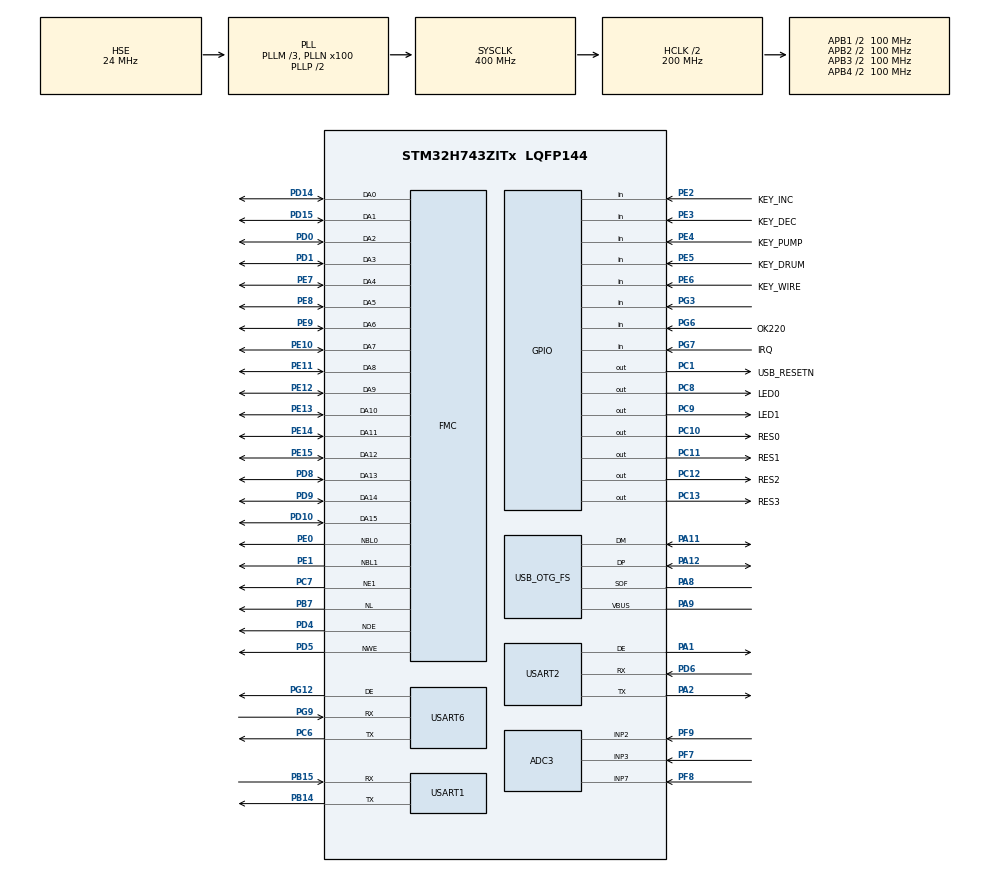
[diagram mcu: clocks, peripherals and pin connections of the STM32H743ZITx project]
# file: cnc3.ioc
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ADC3.Channel-0\#ChannelRegularConversion=ADC_CHANNEL_3
ADC3.NbrOfConversionFlag=1
ADC3.OffsetNumber-0\#ChannelRegularConversion=ADC_OFFSET_NONE
ADC3.Rank-0\#ChannelRegularConversion=1
ADC3.SamplingTime-0\#ChannelRegularConversion=ADC_SAMPLETIME_1CYCLE_5
CORTEX_M7.CPU_ICache=Enabled
FMC.AddressHoldTime1=6
FMC.BankMapConfig=FMC_SWAPBMAP_SDRAM_SRAM
FMC.BusTurnAroundDuration1=6
FMC.DataSetupTime1=15
FMC.WriteFifo1=FMC_WRITE_FIFO_DISABLE
FMC.WriteOperation1=FMC_WRITE_OPERATION_ENABLE
Mcu.Family=STM32H7
Mcu.Name=STM32H743ZITx
Mcu.Package=LQFP144
NVIC.OTG_FS_IRQn=true\:0\:0\:false\:false\:true\:true\:true
NVIC.PriorityGroup=NVIC_PRIORITYGROUP_4
NVIC.USART1_IRQn=true\:0\:0\:false\:false\:true\:true\:true
NVIC.USART6_IRQn=true\:0\:0\:false\:false\:true\:true\:true
PA1.Mode=Hardware Flow Control (RS485)
PA1.Signal=USART2_DE
PA11.Mode=Device_Only
PA11.Signal=USB_OTG_FS_DM
PA12.Mode=Device_Only
PA12.Signal=USB_OTG_FS_DP
PA13\ (JTMS/SWDIO).Mode=Serial_Wire
PA13\ (JTMS/SWDIO).Signal=DEBUG_JTMS-SWDIO
PA14\ (JTCK/SWCLK).Mode=Serial_Wire
PA14\ (JTCK/SWCLK).Signal=DEBUG_JTCK-SWCLK
PA2.Mode=Asynchronous
PA2.Signal=USART2_TX
PA8.Mode=Activate_SOF_FS
PA8.Signal=USB_OTG_FS_SOF
PA9.Mode=Activate_VBUS
PA9.Signal=USB_OTG_FS_VBUS
PB14.Mode=Asynchronous
PB14.Signal=USART1_TX
PB15.Mode=Asynchronous
PB15.Signal=USART1_RX
PB7.Signal=FMC_NL
PC1.GPIO_Label=USB_RESETN
PC1.Signal=GPIO_Output
PC10.GPIO_Label=RES0
PC10.Signal=GPIO_Output
PC11.GPIO_Label=RES1
PC11.Signal=GPIO_Output
PC12.GPIO_Label=RES2
PC12.Signal=GPIO_Output
PC13.GPIO_Label=RES3
PC13.Signal=GPIO_Output
PC14-OSC32_IN\ (OSC32_IN).Mode=LSE-External-Oscillator
PC14-OSC32_IN\ (OSC32_IN).Signal=RCC_OSC32_IN
PC15-OSC32_OUT\ (OSC32_OUT).Mode=LSE-External-Oscillator
PC15-OSC32_OUT\ (OSC32_OUT).Signal=RCC_OSC32_OUT
PC6.Mode=Asynchronous
PC6.Signal=USART6_TX
PC7.Mode=NorPsramChipSelect1_1
PC7.Signal=FMC_NE1
PC8.GPIO_Label=LED0
PC8.Signal=GPIO_Output
PC9.GPIO_Label=LED1
PC9.Signal=GPIO_Output
PD0.Signal=FMC_D2_DA2
PD1.Signal=FMC_D3_DA3
PD10.Signal=FMC_D15_DA15
PD14.Signal=FMC_D0_DA0
PD15.Signal=FMC_D1_DA1
PD4.Signal=FMC_NOE
PD5.Signal=FMC_NWE
PD6.Mode=Asynchronous
PD6.Signal=USART2_RX
PD8.Signal=FMC_D13_DA13
PD9.Signal=FMC_D14_DA14
PE0.Signal=FMC_NBL0
PE1.Signal=FMC_NBL1
PE10.Signal=FMC_D7_DA7
PE11.Signal=FMC_D8_DA8
PE12.Signal=FMC_D9_DA9
PE13.Signal=FMC_D10_DA10
PE14.Signal=FMC_D11_DA11
PE15.Signal=FMC_D12_DA12
PE2.GPIO_Label=KEY_INC
PE2.Signal=GPIO_Input
PE3.GPIO_Label=KEY_DEC
PE3.Signal=GPIO_Input
PE4.GPIO_Label=KEY_PUMP
PE4.Signal=GPIO_Input
PE5.GPIO_Label=KEY_DRUM
PE5.Signal=GPIO_Input
PE6.GPIO_Label=KEY_WIRE
PE6.Signal=GPIO_Input
PE7.Signal=FMC_D4_DA4
PE8.Signal=FMC_D5_DA5
PE9.Signal=FMC_D6_DA6
PF7.Mode=IN3-Single-Ended
PF7.Signal=ADC3_INP3
PF8.Mode=IN7-Single-Ended
PF8.Signal=ADC3_INP7
PF9.Mode=IN2-Single-Ended
PF9.Signal=ADC3_INP2
PG12.Mode=Hardware Flow Control (RS485)
PG12.Signal=USART6_DE
PG3.Signal=GPIO_Input
PG6.GPIO_Label=OK220
PG6.Signal=GPIO_Input
PG7.GPIO_Label=IRQ
PG7.Signal=GPIO_Input
PG9.Mode=Asynchronous
PG9.Signal=USART6_RX
PH0-OSC_IN\ (PH0).Mode=HSE-External-Clock-Source
PH0-OSC_IN\ (PH0).Signal=RCC_OSC_IN
PH1-OSC_OUT\ (PH1).Signal=RCC_OSC_OUT
ProjectManager.HeapSize=0x800
ProjectManager.StackSize=0x400
ProjectManager.TargetToolchain=TrueSTUDIO
RCC.ADCCLockSelection=RCC_ADCCLKSOURCE_PLL3
RCC.ADCFreq_Value=48000000
RCC.APB1Freq_Value=100000000
RCC.APB2Freq_Value=100000000
RCC.APB3Freq_Value=100000000
RCC.APB4Freq_Value=100000000
RCC.CKPERSourceSelection=RCC_CLKPSOURCE_HSE
RCC.CortexFreq_Value=400000000
RCC.D1PPRE=RCC_APB3_DIV2
RCC.D2PPRE1=RCC_APB1_DIV2
RCC.D2PPRE2=RCC_APB2_DIV2
RCC.D3PPRE=RCC_APB4_DIV2
RCC.DIVM1=3
RCC.DIVM2=3
RCC.DIVM3=2
RCC.DIVN1=100
RCC.DIVN2=100
RCC.DIVN3=64
RCC.DIVP2=8
RCC.DIVQ2=8
RCC.DIVQ3=16
RCC.DIVR2=8
RCC.DIVR3=16
RCC.HCLKFreq_Value=200000000
RCC.HPRE=RCC_HCLK_DIV2
RCC.HSE_VALUE=24000000
RCC.PLL2FRACN=0
RCC.PLL3FRACN=0
RCC.PLLFRACN=0
RCC.PLLSourceVirtual=RCC_PLLSOURCE_HSE
RCC.SYSCLKFreq_VALUE=400000000
RCC.SYSCLKSource=RCC_SYSCLKSOURCE_PLLCLK
RCC.USBCLockSelection=RCC_USBCLKSOURCE_PLL3
RCC.USBFreq_Value=48000000
SH.FMC_D0_DA0.0=FMC_DA0,16b-da1
SH.FMC_D10_DA10.0=FMC_DA10,16b-da1
SH.FMC_D11_DA11.0=FMC_DA11,16b-da1
SH.FMC_D12_DA12.0=FMC_DA12,16b-da1
SH.FMC_D13_DA13.0=FMC_DA13,16b-da1
SH.FMC_D14_DA14.0=FMC_DA14,16b-da1
SH.FMC_D15_DA15.0=FMC_DA15,16b-da1
SH.FMC_D1_DA1.0=FMC_DA1,16b-da1
SH.FMC_D2_DA2.0=FMC_DA2,16b-da1
SH.FMC_D3_DA3.0=FMC_DA3,16b-da1
SH.FMC_D4_DA4.0=FMC_DA4,16b-da1
SH.FMC_D5_DA5.0=FMC_DA5,16b-da1
SH.FMC_D6_DA6.0=FMC_DA6,16b-da1
SH.FMC_D7_DA7.0=FMC_DA7,16b-da1
SH.FMC_D8_DA8.0=FMC_DA8,16b-da1
SH.FMC_D9_DA9.0=FMC_DA9,16b-da1
SH.FMC_NBL0.0=FMC_NBL0,2ByteEnable1
SH.FMC_NBL1.0=FMC_NBL1,2ByteEnable1
SH.FMC_NL.0=FMC_NL,AddressValid1
SH.FMC_NOE.0=FMC_NOE,MuxedPsram1
SH.FMC_NWE.0=FMC_NWE,MuxedPsram1
USART1.FIFOMode=FIFOMODE_ENABLE
USART1.VirtualMode-Asynchronous=VM_ASYNC
USART2.FIFOMode=FIFOMODE_ENABLE
USART2.VirtualMode-Asynchronous=VM_ASYNC
USART2.VirtualMode-Hardware\ Flow\ Control\ (RS485)=VM_ASYNC
USART6.FIFOMode=FIFOMODE_ENABLE
USART6.VirtualMode-Asynchronous=VM_ASYNC
USART6.VirtualMode-Hardware\ Flow\ Control\ (RS485)=VM_ASYNC
USB_DEVICE.CLASS_NAME_FS=CDC
USB_DEVICE.CLASS_NAME_HS=CDC
USB_DEVICE.VirtualMode-CDC_FS=Cdc
USB_DEVICE.VirtualMode-CDC_HS=Cdc
USB_DEVICE.VirtualModeFS=Cdc_FS
USB_DEVICE.VirtualModeHS=Cdc_HS
USB_OTG_FS.VirtualMode=Device_Only
USB_OTG_FS.battery_charging_enable=DISABLE
VP_CRC_VS_CRC.Mode=CRC_Activate
VP_RTC_VS_RTC_Activate.Mode=RTC_Enabled
VP_RTC_VS_RTC_Calendar.Mode=RTC_Calendar
VP_USB_DEVICE_VS_USB_DEVICE_CDC_FS.Mode=CDC_FS
VP_WWDG1_VS_WWDG.Mode=WWDG_Activate
WWDG1.Counter=0x7F
WWDG1.Prescaler=WWDG_PRESCALER_128
WWDG1.Window=0x7F
board=custom

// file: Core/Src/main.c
/* USER CODE BEGIN Header */
/**
  ******************************************************************************
  * @file           : main.c
  * @brief          : Main program body
  ******************************************************************************
  * @attention
  *
  * <h2><center>&copy; Copyright (c) 2021 STMicroelectronics.
  * All rights reserved.</center></h2>
  *
  * This software component is licensed by ST under Ultimate Liberty license
  * SLA0044, the "License"; You may not use this file except in compliance with
  * the License. You may obtain a copy of the License at:
  *                             www.st.com/SLA0044
  *
  ******************************************************************************
  */
/* USER CODE END Header */
#include "main.h"
#include "adc.h"
#include "crc.h"
#include "rtc.h"
#include "usart.h"
#include "usb_device.h"
#include "wwdg.h"
#include "gpio.h"
#include "fmc.h"

/* USER CODE BEGIN Includes */
#include <stdio.h>

#include "my_wdt.h"
#include "led_task.h"
#include "debug_fifo.h"
#include "test.h"
#include "cnc_task.h"
#include "cdc_rx_task.h"
#include "com_task.h"
#include "rw_ad.h"
#include "key_task.h"
#include "prog_array.h"

#include "backup.h"
#include "sem_led.h"
#include "defines.h"
#include "moving_avg.h"
#include "fpga_gpo.h"
#include "center.h"
#include "uv.h"

#include "cnc_task_tb.h"
/* USER CODE END Includes */

/* USER CODE BEGIN PV */
#define BUFFER_SIZE         ((uint32_t)0x0100)
#define WRITE_READ_ADDR     ((uint32_t)0x0800)

uint32_t aTxBuffer[BUFFER_SIZE];
uint32_t aRxBuffer[BUFFER_SIZE];

uint32_t uwIndex = 0;
/* USER CODE END PV */

void SystemClock_Config(void);
void PeriphCommonClock_Config(void);

/* USER CODE BEGIN 0 */
//static void Fill_Buffer(uint32_t *pBuffer, uint32_t uwBufferLenght, uint32_t uwOffset) {
//  uint32_t tmpIndex = 0;
//
//  /* Put in global buffer different values */
//  for (tmpIndex = 0; tmpIndex < uwBufferLenght; tmpIndex++ )
//    pBuffer[tmpIndex] = tmpIndex + uwOffset;
//}
/* USER CODE END 0 */

int main(void)
{

  /* Enable I-Cache---------------------------------------------------------*/
  SCB_EnableICache();

  /* MCU Configuration--------------------------------------------------------*/

  /* Reset of all peripherals, Initializes the Flash interface and the Systick. */
  HAL_Init();

  /* Configure the system clock */
  SystemClock_Config();

  /* Configure the peripherals common clocks */
  PeriphCommonClock_Config();

  /* Initialize all configured peripherals */
  MX_GPIO_Init();
  MX_FMC_Init();
  MX_USART1_UART_Init();
  MX_USART2_UART_Init();
  MX_USART6_UART_Init();
  MX_ADC3_Init();
  MX_RTC_Init();
  MX_USB_DEVICE_Init();
//  MX_CRC_Init();
  /* USER CODE BEGIN 2 */
  bkp_enable();
  reset();
  led_reset();

//  double k = GAIN_RES_DIV;

//  cnc_rev_test();
//  bkp_test();
//  bkp_print();

#ifdef TEST
  test();
  reset();
//  cnc_direct_test();
#endif

#ifdef PA_TEST
  pa_test();
#endif

#ifdef TEST_NUM
  cnc_task_tb();
#endif

#ifdef WDT_ENA
  hard_wdt_check();
  MX_WWDG1_Init();
#endif

//  step_dir_ena(TRUE);

  // SDRAM test
//  IS42S16320F_init(&hsdram1);
//  Fill_Buffer(aTxBuffer, BUFFER_SIZE, 0x37BA0F68);
//
//  for (uwIndex = 0; uwIndex < BUFFER_SIZE; uwIndex++)
//     *(__IO uint32_t*) (SDRAM_BANK_ADDR + WRITE_READ_ADDR + 4*uwIndex) = aTxBuffer[uwIndex];
//
//  for (uwIndex = 0; uwIndex < BUFFER_SIZE; uwIndex++)
//      aRxBuffer[uwIndex] = *(__IO uint32_t*) (SDRAM_BANK_ADDR + WRITE_READ_ADDR + 4*uwIndex);
  /* USER CODE END 2 */

  /* Infinite loop */
  /* USER CODE BEGIN WHILE */
  //  fpga_setInputLevel(0x300);

  //  sem_enable(TRUE); // test
  //#if defined(STONE)
  //  sem_enable(TRUE);
  ////  sem_set(4); // test
  //#else
  //  sem_enable(FALSE);
  //#endif

  //  mavg_tb();
//  {
//	  fpga_controls_t data32;
//
//	  gpo_setControlsEnable(0x100, 0x100);
//	  gpo_apply();
//	  data32.data = fpga_getControls();
//
////  HAL_Delay(1000);
//
//	  gpo_setControlsEnable(0x000, 0x100);
//	  gpo_apply();
//	  data32.data = fpga_getControls();
//  }

//  uv_tb();
//  cnc_enc_cut_tb();

  if (hard_wdt())
	  printf("WDT\n");
  else
	  printf("Hello World! %d.%d.%d.%d\n", FAC_VER, FAC_REV, VER, REV);

  gpo_setWireControlEnable(FALSE);

  while (1) {
	  led_task(); // LEDs blinking

//	  ind_test_task();
//	  pult_test_task();
//	  input_test_task();
//	  test_task();

	  com_task(); // communication task
	  cdc_rx_timer_task(); // communication timeout timer

	  debug_task(); // don't use
	  cnc_task(); // main cutting task
	  key_task(); // old pult
	  sem_task(); // semaphore

//#ifdef TEST_NUM
//	  read_imit_fifo_task();
//#endif

//	  center_test();

#ifdef WDT_ENA
	  HAL_WWDG_Refresh(&hwwdg1); // a hardware watchdog timer. It is reseted here if firmware suspend
#endif

#ifdef SOFT_WDT
	  soft_wdt_task(); // reset program when it's enabled if data is not received
#endif
    /* USER CODE END WHILE */

  }
}

void SystemClock_Config(void)
{
  RCC_OscInitTypeDef RCC_OscInitStruct = {0};
  RCC_ClkInitTypeDef RCC_ClkInitStruct = {0};

  /** Supply configuration update enable
  */
  HAL_PWREx_ConfigSupply(PWR_LDO_SUPPLY);
  /** Configure the main internal regulator output voltage
  */
  __HAL_PWR_VOLTAGESCALING_CONFIG(PWR_REGULATOR_VOLTAGE_SCALE1);

  while(!__HAL_PWR_GET_FLAG(PWR_FLAG_VOSRDY)) {}
  /** Macro to configure the PLL clock source
  */
  __HAL_RCC_PLL_PLLSOURCE_CONFIG(RCC_PLLSOURCE_HSE);
  /** Initializes the RCC Oscillators according to the specified parameters
  * in the RCC_OscInitTypeDef structure.
  */
  RCC_OscInitStruct.OscillatorType = RCC_OSCILLATORTYPE_LSI|RCC_OSCILLATORTYPE_HSE;
  RCC_OscInitStruct.HSEState = RCC_HSE_BYPASS;
  RCC_OscInitStruct.LSIState = RCC_LSI_ON;
  RCC_OscInitStruct.PLL.PLLState = RCC_PLL_ON;
  RCC_OscInitStruct.PLL.PLLSource = RCC_PLLSOURCE_HSE;
  RCC_OscInitStruct.PLL.PLLM = 3;
  RCC_OscInitStruct.PLL.PLLN = 100;
  RCC_OscInitStruct.PLL.PLLP = 2;
  RCC_OscInitStruct.PLL.PLLQ = 2;
  RCC_OscInitStruct.PLL.PLLR = 2;
  RCC_OscInitStruct.PLL.PLLRGE = RCC_PLL1VCIRANGE_3;
  RCC_OscInitStruct.PLL.PLLVCOSEL = RCC_PLL1VCOWIDE;
  RCC_OscInitStruct.PLL.PLLFRACN = 0;
  if (HAL_RCC_OscConfig(&RCC_OscInitStruct) != HAL_OK)
  {
    Error_Handler();
  }
  /** Initializes the CPU, AHB and APB buses clocks
  */
  RCC_ClkInitStruct.ClockType = RCC_CLOCKTYPE_HCLK|RCC_CLOCKTYPE_SYSCLK
                              |RCC_CLOCKTYPE_PCLK1|RCC_CLOCKTYPE_PCLK2
                              |RCC_CLOCKTYPE_D3PCLK1|RCC_CLOCKTYPE_D1PCLK1;
  RCC_ClkInitStruct.SYSCLKSource = RCC_SYSCLKSOURCE_PLLCLK;
  RCC_ClkInitStruct.SYSCLKDivider = RCC_SYSCLK_DIV1;
  RCC_ClkInitStruct.AHBCLKDivider = RCC_HCLK_DIV2;
  RCC_ClkInitStruct.APB3CLKDivider = RCC_APB3_DIV2;
  RCC_ClkInitStruct.APB1CLKDivider = RCC_APB1_DIV2;
  RCC_ClkInitStruct.APB2CLKDivider = RCC_APB2_DIV2;
  RCC_ClkInitStruct.APB4CLKDivider = RCC_APB4_DIV2;

  if (HAL_RCC_ClockConfig(&RCC_ClkInitStruct, FLASH_LATENCY_2) != HAL_OK)
  {
    Error_Handler();
  }
}

void PeriphCommonClock_Config(void)
{
  RCC_PeriphCLKInitTypeDef PeriphClkInitStruct = {0};

  /** Initializes the peripherals clock
  */
  PeriphClkInitStruct.PeriphClockSelection = RCC_PERIPHCLK_USB|RCC_PERIPHCLK_ADC;
  PeriphClkInitStruct.PLL3.PLL3M = 2;
  PeriphClkInitStruct.PLL3.PLL3N = 64;
  PeriphClkInitStruct.PLL3.PLL3P = 2;
  PeriphClkInitStruct.PLL3.PLL3Q = 16;
  PeriphClkInitStruct.PLL3.PLL3R = 16;
  PeriphClkInitStruct.PLL3.PLL3RGE = RCC_PLL3VCIRANGE_3;
  PeriphClkInitStruct.PLL3.PLL3VCOSEL = RCC_PLL3VCOWIDE;
  PeriphClkInitStruct.PLL3.PLL3FRACN = 0;
  PeriphClkInitStruct.UsbClockSelection = RCC_USBCLKSOURCE_PLL3;
  PeriphClkInitStruct.AdcClockSelection = RCC_ADCCLKSOURCE_PLL3;
  if (HAL_RCCEx_PeriphCLKConfig(&PeriphClkInitStruct) != HAL_OK)
  {
    Error_Handler();
  }
}

void Error_Handler(void)
{
  __disable_irq();
  while (1)
  {
  }
}

/************************ (C) COPYRIGHT STMicroelectronics *****END OF FILE****/
